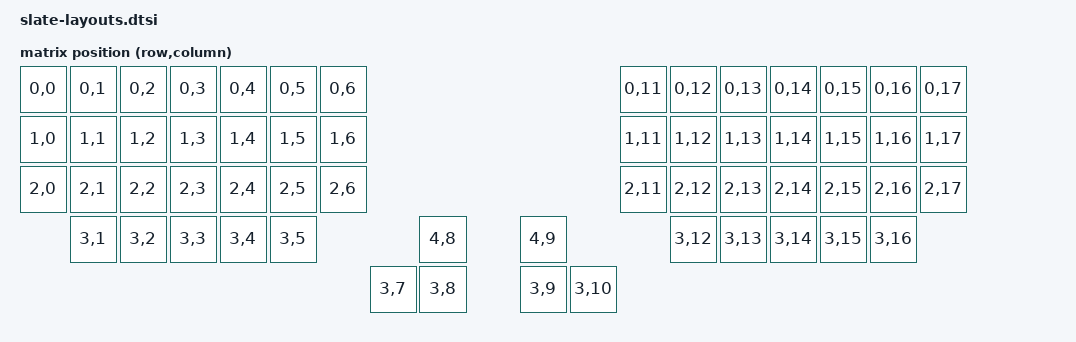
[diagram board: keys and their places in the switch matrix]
#include <dt-bindings/zmk/matrix_transform.h>

#include <physical_layouts.dtsi>

/ {
    default_transform: keymap_transform_0 {
        compatible = "zmk,matrix-transform";
        columns = <18>;
        rows = <5>;
        map = <
RC(0,0) RC(0,1) RC(0,2) RC(0,3) RC(0,4) RC(0,5) RC(0,6)                                    RC(0,11) RC(0,12) RC(0,13) RC(0,14) RC(0,15) RC(0,16) RC(0,17)
RC(1,0) RC(1,1) RC(1,2) RC(1,3) RC(1,4) RC(1,5) RC(1,6)                                    RC(1,11) RC(1,12) RC(1,13) RC(1,14) RC(1,15) RC(1,16) RC(1,17)
RC(2,0) RC(2,1) RC(2,2) RC(2,3) RC(2,4) RC(2,5) RC(2,6)                                    RC(2,11) RC(2,12) RC(2,13) RC(2,14) RC(2,15) RC(2,16) RC(2,17)
        RC(3,1) RC(3,2) RC(3,3) RC(3,4) RC(3,5)         RC(3,7) RC(3,8)   RC(3,9) RC(3,10)          RC(3,12) RC(3,13) RC(3,14) RC(3,15) RC(3,16)
                                                                RC(4,8)   RC(4,9)
        >;
    };

    slate_layout: slate_layout {
        compatible = "zmk,physical-layout";
        display-name = "Slate";
        transform = <&default_transform>;

        keys  //                     w   h    x    y     rot    rx    ry
            = <&key_physical_attrs 100 100    0    0       0     0     0>
            , <&key_physical_attrs 100 100  100    0       0     0     0>
            , <&key_physical_attrs 100 100  200    0       0     0     0>
            , <&key_physical_attrs 100 100  300    0       0     0     0>
            , <&key_physical_attrs 100 100  400    0       0     0     0>
            , <&key_physical_attrs 100 100  500    0       0     0     0>
            , <&key_physical_attrs 100 100  600    0       0     0     0>
            , <&key_physical_attrs 100 100 1200    0       0     0     0>
            , <&key_physical_attrs 100 100 1300    0       0     0     0>
            , <&key_physical_attrs 100 100 1400    0       0     0     0>
            , <&key_physical_attrs 100 100 1500    0       0     0     0>
            , <&key_physical_attrs 100 100 1600    0       0     0     0>
            , <&key_physical_attrs 100 100 1700    0       0     0     0>
            , <&key_physical_attrs 100 100 1800    0       0     0     0>
            , <&key_physical_attrs 100 100    0  100       0     0     0>
            , <&key_physical_attrs 100 100  100  100       0     0     0>
            , <&key_physical_attrs 100 100  200  100       0     0     0>
            , <&key_physical_attrs 100 100  300  100       0     0     0>
            , <&key_physical_attrs 100 100  400  100       0     0     0>
            , <&key_physical_attrs 100 100  500  100       0     0     0>
            , <&key_physical_attrs 100 100  600  100       0     0     0>
            , <&key_physical_attrs 100 100 1200  100       0     0     0>
            , <&key_physical_attrs 100 100 1300  100       0     0     0>
            , <&key_physical_attrs 100 100 1400  100       0     0     0>
            , <&key_physical_attrs 100 100 1500  100       0     0     0>
            , <&key_physical_attrs 100 100 1600  100       0     0     0>
            , <&key_physical_attrs 100 100 1700  100       0     0     0>
            , <&key_physical_attrs 100 100 1800  100       0     0     0>
            , <&key_physical_attrs 100 100    0  200       0     0     0>
            , <&key_physical_attrs 100 100  100  200       0     0     0>
            , <&key_physical_attrs 100 100  200  200       0     0     0>
            , <&key_physical_attrs 100 100  300  200       0     0     0>
            , <&key_physical_attrs 100 100  400  200       0     0     0>
            , <&key_physical_attrs 100 100  500  200       0     0     0>
            , <&key_physical_attrs 100 100  600  200       0     0     0>
            , <&key_physical_attrs 100 100 1200  200       0     0     0>
            , <&key_physical_attrs 100 100 1300  200       0     0     0>
            , <&key_physical_attrs 100 100 1400  200       0     0     0>
            , <&key_physical_attrs 100 100 1500  200       0     0     0>
            , <&key_physical_attrs 100 100 1600  200       0     0     0>
            , <&key_physical_attrs 100 100 1700  200       0     0     0>
            , <&key_physical_attrs 100 100 1800  200       0     0     0>
            , <&key_physical_attrs 100 100  100  300       0     0     0>
            , <&key_physical_attrs 100 100  200  300       0     0     0>
            , <&key_physical_attrs 100 100  300  300       0     0     0>
            , <&key_physical_attrs 100 100  400  300       0     0     0>
            , <&key_physical_attrs 100 100  500  300       0     0     0>
            , <&key_physical_attrs 100 100  700  400       0     0     0>
            , <&key_physical_attrs 100 100  800  400       0     0     0>
            , <&key_physical_attrs 100 100 1000  400       0     0     0>
            , <&key_physical_attrs 100 100 1100  400       0     0     0>
            , <&key_physical_attrs 100 100 1300  300       0     0     0>
            , <&key_physical_attrs 100 100 1400  300       0     0     0>
            , <&key_physical_attrs 100 100 1500  300       0     0     0>
            , <&key_physical_attrs 100 100 1600  300       0     0     0>
            , <&key_physical_attrs 100 100 1700  300       0     0     0>
            , <&key_physical_attrs 100 100  800  300       0     0     0>
            , <&key_physical_attrs 100 100 1000  300       0     0     0>
            ;
    };
};
